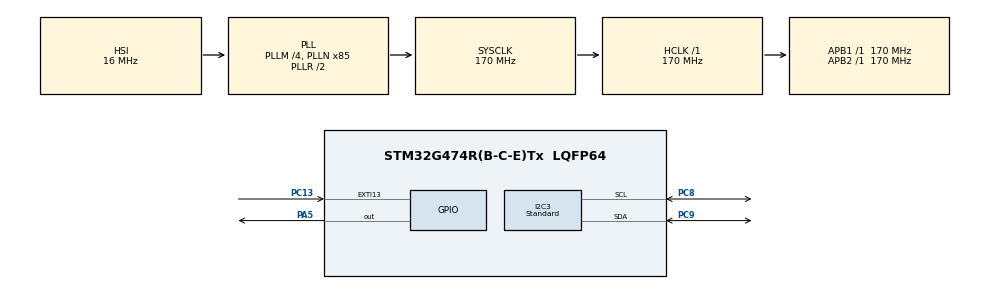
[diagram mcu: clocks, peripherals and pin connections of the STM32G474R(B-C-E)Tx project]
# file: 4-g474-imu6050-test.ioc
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I2C3.I2C_Speed_Mode=I2C_Standard
I2C3.Timing=0x40B285C2
Mcu.Family=STM32G4
Mcu.Name=STM32G474R(B-C-E)Tx
Mcu.Package=LQFP64
NUCLEO-G474RE.BUTTON=1
NUCLEO-G474RE.LD2=true
NUCLEO-G474RE.VCP=true
NVIC.EXTI15_10_IRQn=true\:0\:0\:false\:false\:true\:true\:true\:true
NVIC.PriorityGroup=NVIC_PRIORITYGROUP_4
PA13.GPIO_Label=T_SWDIO
PA13.Signal=SYS_JTMS-SWDIO
PA14.GPIO_Label=T_SWCLK
PA14.Signal=SYS_JTCK-SWCLK
PA2.Signal=LPUART1_TX
PA3.Signal=LPUART1_RX
PA5.Signal=GPIO_Output
PB3.GPIO_Label=T_SWO
PB3.Signal=SYS_JTDO-SWO
PC13.Signal=GPXTI13
PC14-OSC32_IN.GPIO_Label=RCC_OSC32_IN
PC14-OSC32_IN.Signal=RCC_OSC32_IN
PC15-OSC32_OUT.GPIO_Label=RCC_OSC32_OUT
PC15-OSC32_OUT.Signal=RCC_OSC32_OUT
PC8.Mode=I2C
PC8.Signal=I2C3_SCL
PC9.Mode=I2C
PC9.Signal=I2C3_SDA
PF0-OSC_IN.GPIO_Label=RCC_OSC_IN
PF0-OSC_IN.Signal=RCC_OSC_IN
PF1-OSC_OUT.GPIO_Label=RCC_OSC_OUT
PF1-OSC_OUT.Signal=RCC_OSC_OUT
ProjectManager.HeapSize=0x200
ProjectManager.StackSize=0x400
ProjectManager.TargetToolchain=STM32CubeIDE
RCC.ADC12Freq_Value=170000000
RCC.ADC345Freq_Value=170000000
RCC.AHBFreq_Value=170000000
RCC.APB1Freq_Value=170000000
RCC.APB1TimFreq_Value=170000000
RCC.APB2Freq_Value=170000000
RCC.APB2TimFreq_Value=170000000
RCC.CortexFreq_Value=170000000
RCC.EXTERNAL_CLOCK_VALUE=12288000
RCC.HCLKFreq_Value=170000000
RCC.HSE_VALUE=24000000
RCC.HSI48_VALUE=48000000
RCC.HSI_VALUE=16000000
RCC.LSE_VALUE=32768
RCC.PLLM=RCC_PLLM_DIV4
RCC.PLLN=85
RCC.RTCClockSelection=RCC_RTCCLKSOURCE_LSE
RCC.SYSCLKFreq_VALUE=170000000
RCC.SYSCLKSource=RCC_SYSCLKSOURCE_PLLCLK
RCC.USBFreq_Value=170000000
RCC.VCOOutputFreq_Value=340000000
VP_NUCLEO-G474RE_VS_BSP_COMMON.Mode=COMMON
VP_SYS_VS_DBSignals.Mode=DisableDeadBatterySignals
board=NUCLEO-G474RE

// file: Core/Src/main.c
/* USER CODE BEGIN Header */
/**
  ******************************************************************************
  * @file           : main.c
  * @brief          : Main program body
  ******************************************************************************
  * @attention
  *
  * Copyright (c) 2026 STMicroelectronics.
  * All rights reserved.
  *
  * This software is licensed under terms that can be found in the LICENSE file
  * in the root directory of this software component.
  * If no LICENSE file comes with this software, it is provided AS-IS.
  *
  ******************************************************************************
  */
/* USER CODE END Header */
#include "main.h"

/* USER CODE BEGIN Includes */
#include "ssd1306.h"
#include "ssd1306_tests.h"
#include "ssd1306_fonts.h"
/* USER CODE END Includes */

COM_InitTypeDef BspCOMInit;
I2C_HandleTypeDef hi2c3;

/* USER CODE BEGIN PV */
static char buf[32];
/* USER CODE END PV */

void SystemClock_Config(void);
static void MX_GPIO_Init(void);
static void MX_I2C3_Init(void);

/* USER CODE BEGIN 0 */
void FormatDistance(float distance, char *buf)
{
    int intPart = (int)distance;                  // 123
    int fracPart = (int)((distance - intPart) * 10); // 0.4 -> 4

    // simple formatting into buf
    buf[0] = (intPart / 100) % 10 + '0';
    buf[1] = (intPart / 10) % 10 + '0';
    buf[2] = intPart % 10 + '0';
    buf[3] = '.';
    buf[4] = fracPart % 10 + '0';
    buf[5] = ' ';
    buf[6] = 'c';
    buf[7] = 'm';
    buf[8] = 0; // null-terminate
}

void ssd1306_ShowDistance(float dist)
{
    //float dist = SR04_GetDistanceCm_IT();  // get result from interrupt logic

    ssd1306_Fill(Black);

    // Title
    ssd1306_SetCursor(0, 0);
    ssd1306_WriteString("SR04 Distance", Font_7x10, White);

    ssd1306_SetCursor(0, 16);

    if (dist < 0)
    {
        ssd1306_WriteString("Measuring...", Font_11x18, White);
    }
    else
    {
        // Format text: "123.4 cm"
//    	ssd1306_WriteString("not measuring ...", Font_11x18, White);
//        snprintf(buf, sizeof(buf), "%.1f cm", dist);
        FormatDistance(dist, buf);
        ssd1306_WriteString(buf, Font_16x26, White);
    }

    ssd1306_UpdateScreen();
}

int _write(int file, char *ptr, int len)
{
  (void)file;
  int DataIdx;

  for (DataIdx = 0; DataIdx < len; DataIdx++)
  {
    ITM_SendChar(*ptr++);
  }
  return len;
}
/* USER CODE END 0 */

int main(void)
{

  /* MCU Configuration--------------------------------------------------------*/

  /* Reset of all peripherals, Initializes the Flash interface and the Systick. */
  HAL_Init();

  /* Configure the system clock */
  SystemClock_Config();

  /* Initialize all configured peripherals */
  MX_GPIO_Init();
  MX_I2C3_Init();
  ssd1306_Init();

  /* Initialize led */
  BSP_LED_Init(LED_GREEN);

  /* Initialize USER push-button, will be used to trigger an interrupt each time it's pressed.*/
  BSP_PB_Init(BUTTON_USER, BUTTON_MODE_EXTI);

  /* Initialize COM1 port (115200, 8 bits (7-bit data + 1 stop bit), no parity */
  BspCOMInit.BaudRate   = 115200;
  BspCOMInit.WordLength = COM_WORDLENGTH_8B;
  BspCOMInit.StopBits   = COM_STOPBITS_1;
  BspCOMInit.Parity     = COM_PARITY_NONE;
  BspCOMInit.HwFlowCtl  = COM_HWCONTROL_NONE;
  if (BSP_COM_Init(COM1, &BspCOMInit) != BSP_ERROR_NONE)
  {
    Error_Handler();
  }

  /* Infinite loop */
  /* USER CODE BEGIN WHILE */
  while (1)
  {

//	  ssd1306_TestAll();
    /* USER CODE END WHILE */
	  uint8_t whoami;

	  	HAL_I2C_Mem_Read(
	  	    &hi2c3,
	  	    0x68<<1,
	  	    0x75,
	  	    I2C_MEMADD_SIZE_8BIT,
	  	    &whoami,
	  	    1,
	  	    100);

	  	ssd1306_ShowDistance(whoami);
	  	printf("WHOAMI=%d\r\n", whoami);
//
//	  	HAL_Delay(1000);
  }
}

void SystemClock_Config(void)
{
  RCC_OscInitTypeDef RCC_OscInitStruct = {0};
  RCC_ClkInitTypeDef RCC_ClkInitStruct = {0};

  /** Configure the main internal regulator output voltage
  */
  HAL_PWREx_ControlVoltageScaling(PWR_REGULATOR_VOLTAGE_SCALE1_BOOST);

  /** Initializes the RCC Oscillators according to the specified parameters
  * in the RCC_OscInitTypeDef structure.
  */
  RCC_OscInitStruct.OscillatorType = RCC_OSCILLATORTYPE_HSI;
  RCC_OscInitStruct.HSIState = RCC_HSI_ON;
  RCC_OscInitStruct.HSICalibrationValue = RCC_HSICALIBRATION_DEFAULT;
  RCC_OscInitStruct.PLL.PLLState = RCC_PLL_ON;
  RCC_OscInitStruct.PLL.PLLSource = RCC_PLLSOURCE_HSI;
  RCC_OscInitStruct.PLL.PLLM = RCC_PLLM_DIV4;
  RCC_OscInitStruct.PLL.PLLN = 85;
  RCC_OscInitStruct.PLL.PLLP = RCC_PLLP_DIV2;
  RCC_OscInitStruct.PLL.PLLQ = RCC_PLLQ_DIV2;
  RCC_OscInitStruct.PLL.PLLR = RCC_PLLR_DIV2;
  if (HAL_RCC_OscConfig(&RCC_OscInitStruct) != HAL_OK)
  {
    Error_Handler();
  }

  /** Initializes the CPU, AHB and APB buses clocks
  */
  RCC_ClkInitStruct.ClockType = RCC_CLOCKTYPE_HCLK|RCC_CLOCKTYPE_SYSCLK
                              |RCC_CLOCKTYPE_PCLK1|RCC_CLOCKTYPE_PCLK2;
  RCC_ClkInitStruct.SYSCLKSource = RCC_SYSCLKSOURCE_PLLCLK;
  RCC_ClkInitStruct.AHBCLKDivider = RCC_SYSCLK_DIV1;
  RCC_ClkInitStruct.APB1CLKDivider = RCC_HCLK_DIV1;
  RCC_ClkInitStruct.APB2CLKDivider = RCC_HCLK_DIV1;

  if (HAL_RCC_ClockConfig(&RCC_ClkInitStruct, FLASH_LATENCY_4) != HAL_OK)
  {
    Error_Handler();
  }
}

static void MX_I2C3_Init(void)
{

  hi2c3.Instance = I2C3;
  hi2c3.Init.Timing = 0x40B285C2;
  hi2c3.Init.OwnAddress1 = 0;
  hi2c3.Init.AddressingMode = I2C_ADDRESSINGMODE_7BIT;
  hi2c3.Init.DualAddressMode = I2C_DUALADDRESS_DISABLE;
  hi2c3.Init.OwnAddress2 = 0;
  hi2c3.Init.OwnAddress2Masks = I2C_OA2_NOMASK;
  hi2c3.Init.GeneralCallMode = I2C_GENERALCALL_DISABLE;
  hi2c3.Init.NoStretchMode = I2C_NOSTRETCH_DISABLE;
  if (HAL_I2C_Init(&hi2c3) != HAL_OK)
  {
    Error_Handler();
  }

  /** Configure Analogue filter
  */
  if (HAL_I2CEx_ConfigAnalogFilter(&hi2c3, I2C_ANALOGFILTER_ENABLE) != HAL_OK)
  {
    Error_Handler();
  }

  /** Configure Digital filter
  */
  if (HAL_I2CEx_ConfigDigitalFilter(&hi2c3, 0) != HAL_OK)
  {
    Error_Handler();
  }

}

static void MX_GPIO_Init(void)
{

  /* GPIO Ports Clock Enable */
  __HAL_RCC_GPIOC_CLK_ENABLE();
  __HAL_RCC_GPIOF_CLK_ENABLE();
  __HAL_RCC_GPIOA_CLK_ENABLE();
  __HAL_RCC_GPIOB_CLK_ENABLE();

}

void Error_Handler(void)
{
  __disable_irq();
  while (1)
  {
  }
}
